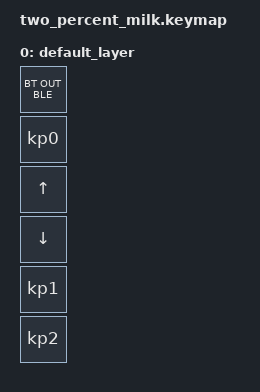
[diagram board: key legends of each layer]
/*
 * Copyright (c) 2022 The ZMK Contributors
 *
 * SPDX-License-Identifier: MIT
 */

 #include <behaviors.dtsi>
 #include <dt-bindings/zmk/keys.h>
 #include <dt-bindings/zmk/bt.h>
 #include <dt-bindings/zmk/outputs.h>
 
 / {
     keymap {
         compatible = "zmk,keymap";
 
         default_layer {
             bindings = <
              &bt OUT_BLE
              &kp KP_N0
              &kp UP
              &kp DOWN
              &kp KP_N1
              &kp KP_N2
             >;
         };
     };
 };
